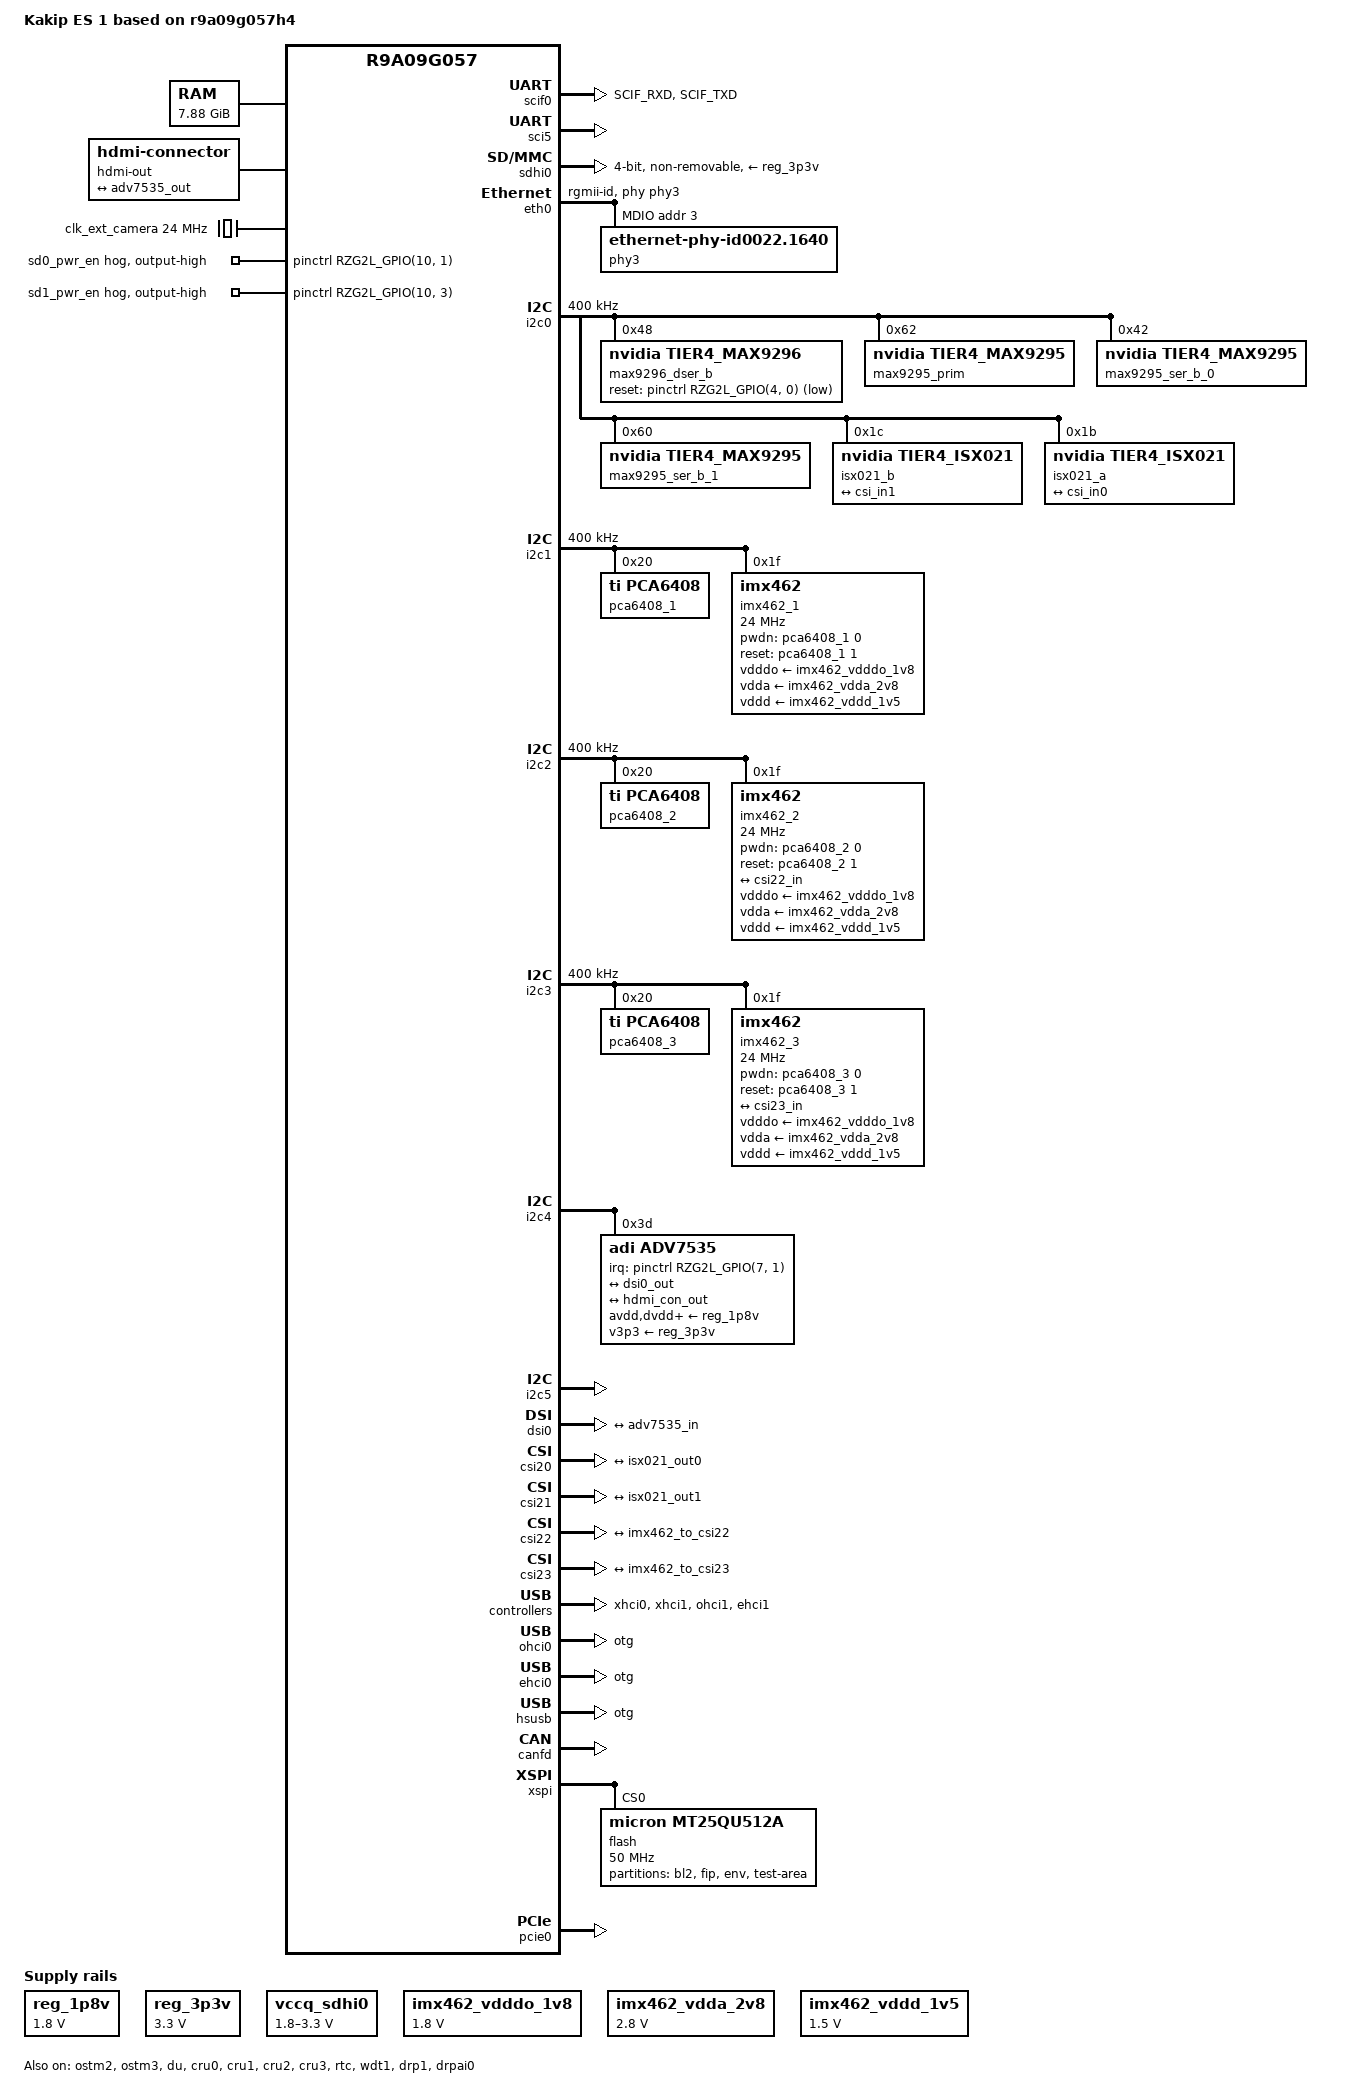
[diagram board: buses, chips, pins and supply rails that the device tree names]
// SPDX-License-Identifier: (GPL-2.0-only OR BSD-2-Clause)
/*
 * Device Tree Source for the Kakip ES 1 board
 *
 * Copyright (C) 2024 AMATAMA Co.
 */

/dts-v1/;
#include "r9a09g057.dtsi"
#include <dt-bindings/pinctrl/rzg2l-pinctrl.h>
#include <dt-bindings/gpio/gpio.h>

/ {
	model = "Kakip ES 1 based on r9a09g057h4";
	compatible = "renesas,r9a09g057h4-evk-ver1", "renesas,r9a09g057h4", "renesas,r9a09g057";

	aliases {
		serial0 = &scif0;
		serial2 = &sci5;
		mmc0 = &sdhi0;
		ethernet0 = &eth0;
		ethernet1 = &eth1;
	};

	chosen {
		bootargs = "ignore_loglevel";
		stdout-path = "serial0:115200n8";
	};

	ddr0: memory@48000000 {
		device_type = "memory";
		/* first 128MB is reserved for secure area. */
		reg = <0x0 0x48000000 0x1 0xF8000000>;
	};

	pwm0_gpio: pwm0-gpio {
		compatible = "pwm-gpio";
		gpios = <&pinctrl RZG2L_GPIO(10, 4) GPIO_ACTIVE_HIGH>;
		#pwm-cells = <3>;
		status = "disabled";
	};

	pwm1_gpio: pwm1-gpio {
		compatible = "pwm-gpio";
		gpios = <&pinctrl RZG2L_GPIO(10, 5) GPIO_ACTIVE_HIGH>;
		#pwm-cells = <3>;
		status = "disabled";
	};

	reserved-memory {
		#address-cells = <2>;
		#size-cells = <2>;
		ranges;

		global_cma: linux,cma@58000000 {
			compatible = "shared-dma-pool";
			linux,cma-default;
			reusable;
			reg = <0x0 0x58000000 0x0 0x10000000>;
		};

		mmp_reserved: linux,multimedia {
			compatible = "shared-dma-pool";
			reusable;
			reg = <0x00000000 0x68000000 0x0 0x20000000>;
		};

		isp: ISP@90000000 {
			compatible = "shared-dma-pool";
			reusable;
			reg = <0x0 0x90000000 0x0 0x18000000>;
		};

		image_buf0: image_buf@B0000000 {
			compatible = "shared-dma-pool";
			reusable;
			reg = <0x0 0xB0000000 0x0 0x4000000>;
			label = "image_buf0";
		};

		opencva_reserved: OpenCVA@C0000000 {
			reusable;
			reg = <0x0 0xC0000000 0x0 0x7D00000>;
		};

		drp_codec: DRP-Codec@C7D00000 {
			reusable;
			reg = <0x0 0xC7D00000 0x0 0x300000>;
		};

		drp_reserved: DRP-AI@D0000000 {
			reusable;
			reg = <0x0 0xD0000000 0x0 0x20000000>;
		};
	};

	mmngr {
		compatible = "renesas,mmngr";
		memory-region = <&mmp_reserved>;
	};

	mmngrbuf {
		compatible = "renesas,mmngrbuf";
	};

	vspm_if {
		compatible = "renesas,vspm_if";
	};

	reg_1p8v: regulator0 {
		compatible = "regulator-fixed";

		regulator-name = "fixed-1.8V";
		regulator-min-microvolt = <1800000>;
		regulator-max-microvolt = <1800000>;
		regulator-boot-on;
		regulator-always-on;
	};

	reg_3p3v: regulator1 {
		compatible = "regulator-fixed";

		regulator-name = "fixed-3.3V";
		regulator-min-microvolt = <3300000>;
		regulator-max-microvolt = <3300000>;
		regulator-boot-on;
		regulator-always-on;
	};

	vccq_sdhi0: regulator-vccq-sdhi0 {
		compatible = "regulator-gpio";

		regulator-name = "SDHI0 VccQ";
		regulator-min-microvolt = <1800000>;
		regulator-max-microvolt = <3300000>;

		gpios = <&pinctrl RZG2L_GPIO(10, 0) GPIO_ACTIVE_HIGH>;

		gpios-states = <0>;
		states = <3300000 0 1800000 1>;
	};

	hdmi-out {
		compatible = "hdmi-connector";
		type = "d";

		port {
			hdmi_con_out: endpoint {
				remote-endpoint = <&adv7535_out>;
			};
		};
	};

	clk_ext_camera: clk_ext_camera {
		compatible = "fixed-clock";
		#clock-cells = <0>;
		clock-frequency = <24000000>;
	};

	imx462_vdddo_1v8: 1p8v {
		compatible = "regulator-fixed";
		regulator-name = "camera_vdddo";
		regulator-min-microvolt = <1800000>;
		regulator-max-microvolt = <1800000>;
		regulator-always-on;
	};

	imx462_vdda_2v8: 2p8v {
		compatible = "regulator-fixed";
		regulator-name = "camera_vdda";
		regulator-min-microvolt = <2800000>;
		regulator-max-microvolt = <2800000>;
		regulator-always-on;
	};

	imx462_vddd_1v5: 1p5v {
		compatible = "regulator-fixed";
		regulator-name = "camera_vddd";
		regulator-min-microvolt = <1500000>;
		regulator-max-microvolt = <1500000>;
		regulator-always-on;
	};

	x1_clk: x1-clock {
		compatible = "fixed-clock";
		#clock-cells = <0>;
		clock-frequency = <24000000>;
	};

    udmabuf@0 {
        compatible = "ikwzm,u-dma-buf";
        device-name = "udmabuf0";
        minor-number = <0>;
        size = <0x4000000>; // 64MiB
        dma-coherent;
        memory-region = <&image_buf0>;
    };
};

&pinctrl {
	gpio-line-names = \
	"", "", "", "","", "", "", "", \
	"", "", "", "","", "", "", "", \
	"", "", "", "","", "", "", "", \
	"", "", "", "","", "", "", "", \
	"", "", "", "","", "", "", "", \
	"", "", "", "","", "", "", "", \
	"", "", "", "","", "", "", "", \
	"", "GPIO4", "GPIO14", "GPIO15","GPIO5", "", "GPIO2", "GPIO3", \
	"", "", "GPIO16", "GPIO17","GPIO0", "GPIO1", "", "", \
	"GPIO10", "GPIO9", "GPIO11", "GPIO8","GPIO7", "GPIO18", "GPIO19", "GPIO21", \
	"", "", "", "","GPIO12", "GPIO13", "GPIO20", "GPIO6", \
	"GPIO22", "GPIO24", "GPIO25", "GPIO26","GPIO27", "GPIO23", "", "";

	can0_pins: can0 {
		pinmux = <RZG2L_PORT_PINMUX(8, 0, 5)>, /* TX */
			 <RZG2L_PORT_PINMUX(8, 1, 5)>; /* RX */
	};

	can3_pins: can3 {
		pinmux = <RZG2L_PORT_PINMUX(8, 6, 5)>, /* TX */
			 <RZG2L_PORT_PINMUX(8, 7, 5)>; /* RX */
	};

	scif0_pins: scif0 {
		pins =  "SCIF_RXD", "SCIF_TXD";
	};

	sci5_pins: sci5 {
		pinmux = <RZG2L_PORT_PINMUX(7, 2, 1)>, /* SCI5_TXD_MOSI_SDA */
			 <RZG2L_PORT_PINMUX(7, 3, 1)>; /* SCI5_RXD_MISO_SCL */
	};

	sd0_pwr_en {
		gpio-hog;
		gpios = <RZG2L_GPIO(10, 1) GPIO_ACTIVE_HIGH>;
		output-high;
		line-name = "sd0_pwr_en";
	};

	sd1_pwr_en {
		gpio-hog;
		gpios = <RZG2L_GPIO(10, 3) GPIO_ACTIVE_HIGH>;
		output-high;
		line-name = "sd1_pwr_en";
	};

	i2c0_pins: i2c0 {
		pinmux = <RZG2L_PORT_PINMUX(3, 0, 1)>, /* I2C0_SDA */
			 <RZG2L_PORT_PINMUX(3, 1, 1)>; /* I2C0_SCL */
	};

	i2c1_pins: i2c1 {
		pinmux = <RZG2L_PORT_PINMUX(3, 2, 1)>, /* I2C1_SDA */
			 <RZG2L_PORT_PINMUX(3, 3, 1)>; /* I2C1_SCL */
	};

	i2c2_pins: i2c2 {
		pinmux = <RZG2L_PORT_PINMUX(3, 4, 1)>, /* I2C2_SDA */
			 <RZG2L_PORT_PINMUX(3, 5, 1)>; /* I2C2_SCL */
	};

	i2c3_pins: i2c3 {
		pinmux = <RZG2L_PORT_PINMUX(3, 6, 1)>, /* I2C3_SDA */
			 <RZG2L_PORT_PINMUX(3, 7, 1)>; /* I2C3_SCL */
	};

	i2c4_pins: i2c4 {
		pinmux = <RZG2L_PORT_PINMUX(6, 0, 4)>, /* I2C4_SDA */
			 <RZG2L_PORT_PINMUX(6, 1, 4)>; /* I2C4_SCL */
	};

	i2c5_pins: i2c5 {
		pinmux = <RZG2L_PORT_PINMUX(6, 2, 4)>, /* I2C5_SDA */
			 <RZG2L_PORT_PINMUX(6, 3, 4)>; /* I2C5_SCL */
	};

	i2c6_pins: i2c6 {
	};

	i2c7_pins: i2c7 {
	};

	i2c8_pins: i2c8 {
	};

	usb30_pins: usb30 {
		pinmux = <RZG2L_PORT_PINMUX(6, 4, 15)>; /* VBUS */
	};

	usb31_pins: usb31 {
		pinmux = <RZG2L_PORT_PINMUX(6, 6, 15)>; /* VBUS */
	};

	usb20_pins: usb20 {
	};

	usb21_pins: usb21 {
	};
};

&extal_clk {
	clock-frequency = <24000000>;
};

&ostm2 {
	status = "okay";
};

&ostm3 {
	status = "okay";
};

&scif0 {
	pinctrl-0 = <&scif0_pins>;
	pinctrl-names = "default";

	status = "okay";
};

&sci5 {
	pinctrl-0 = <&sci5_pins>;
	pinctrl-names = "default";
	status = "okay";
};

&sdhi0 {
	vmmc-supply = <&reg_3p3v>;
	vqmmc-supply = <&vccq_sdhi0>;
	non-removable;
	bus-width = <4>;
	sd-uhs-sdr50;
	status = "okay";
};

&eth0 {
	phy-handle = <&phy3>;
	phy-mode = "rgmii-id";
	status = "okay";

	mdio {
		#address-cells = <1>;
		#size-cells = <0>;
		phy3: ethernet-phy@3 {
			compatible = "ethernet-phy-id0022.1640",
				     "ethernet-phy-ieee802.3-c22";
			reg = <3>;
			rxc-skew-psec = <1400>;
			txc-skew-psec = <1400>;
			rxdv-skew-psec = <0>;
			txdv-skew-psec = <0>;
			rxd0-skew-psec = <0>;
			rxd1-skew-psec = <0>;
			rxd2-skew-psec = <0>;
			rxd3-skew-psec = <0>;
			txd0-skew-psec = <0>;
			txd1-skew-psec = <0>;
			txd2-skew-psec = <0>;
			txd3-skew-psec = <0>;
		};
	};
};

&eth1 {
	phy-handle = <&phy1>;
	phy-mode = "rgmii-id";
	status = "disabled";

	mdio {
		#address-cells = <1>;
		#size-cells = <0>;
		phy1: ethernet-phy@0 {
			compatible = "ethernet-phy-id0022.1640",
				     "ethernet-phy-ieee802.3-c22";
			reg = <0>;
			rxc-skew-psec = <1400>;
			txc-skew-psec = <1400>;
			rxdv-skew-psec = <0>;
			txdv-skew-psec = <0>;
			rxd0-skew-psec = <0>;
			rxd1-skew-psec = <0>;
			rxd2-skew-psec = <0>;
			rxd3-skew-psec = <0>;
			txd0-skew-psec = <0>;
			txd1-skew-psec = <0>;
			txd2-skew-psec = <0>;
			txd3-skew-psec = <0>;
		};
	};
};

&i2c0 {
	pinctrl-0 = <&i2c0_pins>;
	pinctrl-names = "default";

	status = "okay";
	clock-frequency = <400000>;
//	pca6408_0: pca6408_0@20
//		{
//			compatible = "ti,pca6408";
//			gpio-controller;
//			#gpio-cells = <2>;
//			reg = <0x20>;
//			status = "okay";
//		};
//	imx462_0: camera0@1f {
//		compatible = "imx462";
//		reg = <0x1f>;
//		clock-names = "xclk";
//		clocks = <&clk_ext_camera>;
//		clock-frequency = <24000000>;
//		camera-mipi-clk = <800>; //Not used , but for future purpose
//		camera-mipi-lanes = <4>; //Not used , but for future purpose
//		vdddo-supply = <&imx462_vdddo_1v8>;
//		vdda-supply = <&imx462_vdda_2v8>;
//		vddd-supply = <&imx462_vddd_1v5>;
//		/* Set dummy enable gpio */
//		pwdn-gpios = <&pca6408_0 0 GPIO_ACTIVE_HIGH>;
//		reset-gpios = <&pca6408_0 1 GPIO_ACTIVE_HIGH>;
//
//		port {
//			imx462_to_csi20: endpoint {
//				clock-lanes = <0>;
//				data-lanes = <1 2 3 4>;
//				// remote-endpoint = <&csi20_in>;
//			};
//		};
//	};

	max9296_dser_b: max9296@48 {
		compatible = "nvidia,tier4_max9296";
		reg = <0x48>;
		status = "okay";
		csi-mode = "2x4";
		max-src = <2>;
		reset-gpios = <&pinctrl RZG2L_GPIO(4, 0) GPIO_ACTIVE_LOW>;
		// reset-gpios = <&pinctrl RZG2L_GPIO(4, 1) GPIO_ACTIVE_LOW>;
		// reset-gpios = <&tegra_main_gpio 0x3B 0x0>;
	};

	max9295_prim@62 {
		compatible = "nvidia,tier4_max9295";
		status = "okay";
		reg = <0x62>;
		is-prim-ser;
	};
	max9295_ser_b_0: max9295_a@42 {
		compatible = "nvidia,tier4_max9295";
		status = "okay";
		reg = <0x42>;
		nvidia,gmsl-dser-device = <&max9296_dser_b>;
	};

	max9295_ser_b_1: max9295_b@60 {
		compatible = "nvidia,tier4_max9295";
		status = "okay";
		reg = <0x60>;
		nvidia,gmsl-dser-device = <&max9296_dser_b>;
	};

	isx021_b@1c {
		//cvb
		status = "okay";
		def-addr = <0x1a>;
		// mclk = "extperiph1";
		mclk = "xclk";
		// mclk = "sysclk";
		// mclk = "clk_ext_camera";
		clocks = <&clk_ext_camera>, <&clk_ext_camera>;
		// clock-names = "extperiph1", "pllp_grtba";
		clock-names = "xclk", "pllp_grtba";
		// clock-names = "sysclk", "pllp_grtba";
		// clock-names = "clk_ext_camera", "pllp_grtba";
		nvidia,gmsl-ser-device = <&max9295_ser_b_1>;
		nvidia,gmsl-dser-device = <&max9296_dser_b>;

		// common modul;e
		compatible = "nvidia,tier4_isx021";
		reg = <0x1c>;

		/* Physical dimensions of sensor */
		physical_w = "15.0";
		physical_h = "12.5";
		reg_mux = <0>;

		sensor_model ="isx021";

		fsync-mode = "false";

		distortion-correction = "false";

		auto-exposure = "true";

		/* Defines number of frames to be dropped by driver internally after applying */
		/* sensor crop settings. Some sensors send corrupt frames after applying */
		/* crop co-ordinates */
		post_crop_frame_drop = "0";

		/* Convert Gain to unit of dB (decibel) befor passing to kernel driver */
		use_decibel_gain = "true";

		/* enable CID_SENSOR_MODE_ID for sensor modes selection */
		// use_sensor_mode_id = "true";
		use_sensor_mode_id = "false";

		mode0 {
			/*mode ISX021_MODE_1920X1280_CROP_30FPS*/
			mclk_khz = "24000";
			num_lanes = "4";
			tegra_sinterface = "serial_a";
			vc_id = "1";
			discontinuous_clk = "no";
			dpcm_enable = "false";
			cil_settletime = "0";
			dynamic_pixel_bit_depth = "16";
			csi_pixel_bit_depth = "16";
			mode_type = "yuv";
			pixel_phase = "uyvy";

			active_w = "1920";
			active_h = "1280";
			readout_orientation = "0";
			line_length = "2250";
			inherent_gain = "1";

			pix_clk_hz = "74250000";
			serdes_pix_clk_hz = "350000000";    // MIPI CSI clock 1400Mhz

			gain_factor = "10";
			min_gain_val = "0";                   /* dB */
			max_gain_val = "300";                 /* dB */
			step_gain_val = "3";                  /* 0.3 */
			default_gain = "0";
			min_hdr_ratio = "1";
			max_hdr_ratio = "1";
			framerate_factor = "1000000";
			min_framerate = "30000000";
			max_framerate = "30000000";
			step_framerate = "1";
			default_framerate = "30000000";
			exposure_factor = "1000000";
			min_exp_time = "24";                  /* us 1 line */
			max_exp_time = "33333";
			step_exp_time = "1";
			default_exp_time = "33333";           /* us */
			embedded_metadata_height = "0";
		};
		mode1 {
			/*mode ISX021_MODE_1920X1281_CROP_30FPS for Front Embbeded data*/ 
			mclk_khz = "24000";
			num_lanes = "4";
			tegra_sinterface = "serial_a";
			vc_id = "1";
			discontinuous_clk = "no";
			dpcm_enable = "false";
			cil_settletime = "0";
			dynamic_pixel_bit_depth = "16";
			csi_pixel_bit_depth = "16";
			mode_type = "yuv";
			pixel_phase = "uyvy";

			active_w = "1920";
			active_h = "1281";
			readout_orientation = "0";
			line_length = "2250";
			inherent_gain = "1";

			pix_clk_hz = "74250000";
			serdes_pix_clk_hz = "350000000";    // MIPI CSI clock 1400Mhz

			gain_factor = "10";
			min_gain_val = "0";                   /* dB */
			max_gain_val = "300";                 /* dB */
			step_gain_val = "3";                  /* 0.3 */
			default_gain = "0";
			min_hdr_ratio = "1";
			max_hdr_ratio = "1";
			framerate_factor = "1000000";
			min_framerate = "30000000";
			max_framerate = "30000000";
			step_framerate = "1";
			default_framerate = "30000000";
			exposure_factor = "1000000";
			min_exp_time = "24";                  /* us 1 line */
			max_exp_time = "33333";
			step_exp_time = "1";
			default_exp_time = "33333";           /* us */
			embedded_metadata_height = "0";
		};
		mode2 {
			/*mode ISX021_MODE_1920X1294_CROP_30FPS  for Rear Embedded data */
			mclk_khz = "24000";
			num_lanes = "4";
			tegra_sinterface = "serial_a";
			vc_id = "1";
			discontinuous_clk = "no";
			dpcm_enable = "false";
			cil_settletime = "0";
			dynamic_pixel_bit_depth = "16";
			csi_pixel_bit_depth = "16";
			mode_type = "yuv";
			pixel_phase = "uyvy";

			active_w = "1920";
			active_h = "1294";
			readout_orientation = "0";
			line_length = "2250";
			inherent_gain = "1";

			pix_clk_hz = "74250000";
			serdes_pix_clk_hz = "350000000";    // MIPI CSI clock 1400Mhz

			gain_factor = "10";
			min_gain_val = "0";                   /* dB */
			max_gain_val = "300";                 /* dB */
			step_gain_val = "3";                  /* 0.3 */
			default_gain = "0";
			min_hdr_ratio = "1";
			max_hdr_ratio = "1";
			framerate_factor = "1000000";
			min_framerate = "30000000";
			max_framerate = "30000000";
			step_framerate = "1";
			default_framerate = "30000000";
			exposure_factor = "1000000";
			min_exp_time = "24";                  /* us 1 line */
			max_exp_time = "33333";
			step_exp_time = "1";
			default_exp_time = "33333";           /* us */
			embedded_metadata_height = "0";
		};
		mode3 {
			/*mode ISX021_MODE_1920X1295_CROP_30FPS for both Front and Rear Embedded data */
			mclk_khz = "24000";
			num_lanes = "4";
			tegra_sinterface = "serial_a";
			vc_id = "1";
			discontinuous_clk = "no";
			dpcm_enable = "false";
			cil_settletime = "0";
			dynamic_pixel_bit_depth = "16";
			csi_pixel_bit_depth = "16";
			mode_type = "yuv";
			pixel_phase = "uyvy";

			active_w = "1920";
			active_h = "1295";
			readout_orientation = "0";
			line_length = "2250";
			inherent_gain = "1";

			pix_clk_hz = "74250000";
			serdes_pix_clk_hz = "350000000";    // MIPI CSI clock 1400Mhz

			gain_factor = "10";
			min_gain_val = "0";                   /* dB */
			max_gain_val = "300";                 /* dB */
			step_gain_val = "3";                  /* 0.3 */
			default_gain = "0";
			min_hdr_ratio = "1";
			max_hdr_ratio = "1";
			framerate_factor = "1000000";
			min_framerate = "30000000";
			max_framerate = "30000000";
			step_framerate = "1";
			default_framerate = "30000000";
			exposure_factor = "1000000";
			min_exp_time = "24";                  /* us 1 line */
			max_exp_time = "33333";
			step_exp_time = "1";
			default_exp_time = "33333";           /* us */
			embedded_metadata_height = "0";
		};


		ports {
			#address-cells = <1>;
			#size-cells = <0>;
			port@0 {
				reg = <0>;
				isx021_out1: endpoint {
					vc-id = <1>;
					port-index = <0>;
					bus-width = <4>;
					clock-lanes = <0>;
					data-lanes = <1 2 3 4>;
					remote-endpoint = <&csi_in1>;
				};
			};
		};

		gmsl-link {
			src-csi-port = "b";           /* Port at which sensor is connected to its serializer device. */
			dst-csi-port = "a";           /* Destination CSI port on the Jetson side, connected at deserializer. */
			serdes-csi-link = "b";        /* GMSL link sensor/serializer connected */
			csi-mode = "1x4";             /*  to sensor CSI mode. */
			st-vc = <0>;                    /* Sensor source default VC ID: 0 unless overridden by sensor. */
			vc-id = <1>;                    /* Destination VC ID, assigned to sensor stream by deserializer. */
			num-lanes = <4>;                /* Number of CSI lanes used. */
			streams = "ued-u1", "yuv8"; /* Types of streams sensor is streaming. */
		};
	};

	isx021_a@1b {
		//cvb
		status = "okay";
		def-addr = <0x1a>;
		// mclk = "extperiph1";
		mclk = "xclk";
		// mclk = "sysclk";
		// mclk = "clk_ext_camera";
		clocks = <&clk_ext_camera>, <&clk_ext_camera>;
		// clock-names = "extperiph1", "pllp_grtba";
		clock-names = "xclk", "pllp_grtba";
		// clock-names = "sysclk", "pllp_grtba";
		// clock-names = "clk_ext_camera", "pllp_grtba";
		nvidia,gmsl-ser-device = <&max9295_ser_b_0>;
		nvidia,gmsl-dser-device = <&max9296_dser_b>;

		// common modul;e
		compatible = "nvidia,tier4_isx021";
		reg = <0x1b>;

		/* Physical dimensions of sensor */
		physical_w = "15.0";
		physical_h = "12.5";
		reg_mux = <0>;

		sensor_model ="isx021";

		fsync-mode = "false";

		distortion-correction = "false";

		auto-exposure = "true";

		/* Defines number of frames to be dropped by driver internally after applying */
		/* sensor crop settings. Some sensors send corrupt frames after applying */
		/* crop co-ordinates */
		post_crop_frame_drop = "0";

		/* Convert Gain to unit of dB (decibel) befor passing to kernel driver */
		use_decibel_gain = "true";

		/* enable CID_SENSOR_MODE_ID for sensor modes selection */
		// use_sensor_mode_id = "true";
		use_sensor_mode_id = "false";

		mode0 {
			/*mode ISX021_MODE_1920X1280_CROP_30FPS*/
			mclk_khz = "24000";
			num_lanes = "4";
			tegra_sinterface = "serial_a";
			vc_id = "0";
			discontinuous_clk = "no";
			dpcm_enable = "false";
			cil_settletime = "0";
			// dynamic_pixel_bit_depth = "32";
			// csi_pixel_bit_depth = "32";
			dynamic_pixel_bit_depth = "16";
			csi_pixel_bit_depth = "16";
			// dynamic_pixel_bit_depth = "8";
			// csi_pixel_bit_depth = "8";
			mode_type = "yuv";
			pixel_phase = "uyvy";

			active_w = "1920";
			active_h = "1280";
			readout_orientation = "0";
			line_length = "2250";
			inherent_gain = "1";

			pix_clk_hz = "74250000";
			serdes_pix_clk_hz = "350000000";    // MIPI CSI clock 1400Mhz

			gain_factor = "10";
			min_gain_val = "0";                   /* dB */
			max_gain_val = "300";                 /* dB */
			step_gain_val = "3";                  /* 0.3 */
			default_gain = "0";
			min_hdr_ratio = "1";
			max_hdr_ratio = "1";
			framerate_factor = "1000000";
			min_framerate = "30000000";
			max_framerate = "30000000";
			step_framerate = "1";
			default_framerate = "30000000";
			exposure_factor = "1000000";
			min_exp_time = "24";                  /* us 1 line */
			max_exp_time = "33333";
			step_exp_time = "1";
			default_exp_time = "33333";           /* us */
			embedded_metadata_height = "0";
		};
		mode1 {
			/*mode ISX021_MODE_1920X1281_CROP_30FPS for Front Embbeded data*/ 
			mclk_khz = "24000";
			num_lanes = "4";
			tegra_sinterface = "serial_a";
			vc_id = "0";
			discontinuous_clk = "no";
			dpcm_enable = "false";
			cil_settletime = "0";
			dynamic_pixel_bit_depth = "16";
			csi_pixel_bit_depth = "16";
			mode_type = "yuv";
			pixel_phase = "uyvy";

			active_w = "1920";
			active_h = "1281";
			readout_orientation = "0";
			line_length = "2250";
			inherent_gain = "1";

			pix_clk_hz = "74250000";
			serdes_pix_clk_hz = "350000000";    // MIPI CSI clock 1400Mhz

			gain_factor = "10";
			min_gain_val = "0";                   /* dB */
			max_gain_val = "300";                 /* dB */
			step_gain_val = "3";                  /* 0.3 */
			default_gain = "0";
			min_hdr_ratio = "1";
			max_hdr_ratio = "1";
			framerate_factor = "1000000";
			min_framerate = "30000000";
			max_framerate = "30000000";
			step_framerate = "1";
			default_framerate = "30000000";
			exposure_factor = "1000000";
			min_exp_time = "24";                  /* us 1 line */
			max_exp_time = "33333";
			step_exp_time = "1";
			default_exp_time = "33333";           /* us */
			embedded_metadata_height = "0";
		};
		mode2 {
			/*mode ISX021_MODE_1920X1294_CROP_30FPS  for Rear Embedded data */
			mclk_khz = "24000";
			num_lanes = "4";
			tegra_sinterface = "serial_a";
			vc_id = "0";
			discontinuous_clk = "no";
			dpcm_enable = "false";
			cil_settletime = "0";
			dynamic_pixel_bit_depth = "16";
			csi_pixel_bit_depth = "16";
			mode_type = "yuv";
			pixel_phase = "uyvy";

			active_w = "1920";
			active_h = "1294";
			readout_orientation = "0";
			line_length = "2250";
			inherent_gain = "1";

			pix_clk_hz = "74250000";
			serdes_pix_clk_hz = "350000000";    // MIPI CSI clock 1400Mhz

			gain_factor = "10";
			min_gain_val = "0";                   /* dB */
			max_gain_val = "300";                 /* dB */
			step_gain_val = "3";                  /* 0.3 */
			default_gain = "0";
			min_hdr_ratio = "1";
			max_hdr_ratio = "1";
			framerate_factor = "1000000";
			min_framerate = "30000000";
			max_framerate = "30000000";
			step_framerate = "1";
			default_framerate = "30000000";
			exposure_factor = "1000000";
			min_exp_time = "24";                  /* us 1 line */
			max_exp_time = "33333";
			step_exp_time = "1";
			default_exp_time = "33333";           /* us */
			embedded_metadata_height = "0";
		};
		mode3 {
			/*mode ISX021_MODE_1920X1295_CROP_30FPS for both Front and Rear Embedded data */
			mclk_khz = "24000";
			num_lanes = "4";
			tegra_sinterface = "serial_a";
			vc_id = "0";
			discontinuous_clk = "no";
			dpcm_enable = "false";
			cil_settletime = "0";
			dynamic_pixel_bit_depth = "16";
			csi_pixel_bit_depth = "16";
			mode_type = "yuv";
			pixel_phase = "uyvy";

			active_w = "1920";
			active_h = "1295";
			readout_orientation = "0";
			line_length = "2250";
			inherent_gain = "1";

			pix_clk_hz = "74250000";
			serdes_pix_clk_hz = "350000000";    // MIPI CSI clock 1400Mhz

			gain_factor = "10";
			min_gain_val = "0";                   /* dB */
			max_gain_val = "300";                 /* dB */
			step_gain_val = "3";                  /* 0.3 */
			default_gain = "0";
			min_hdr_ratio = "1";
			max_hdr_ratio = "1";
			framerate_factor = "1000000";
			min_framerate = "30000000";
			max_framerate = "30000000";
			step_framerate = "1";
			default_framerate = "30000000";
			exposure_factor = "1000000";
			min_exp_time = "24";                  /* us 1 line */
			max_exp_time = "33333";
			step_exp_time = "1";
			default_exp_time = "33333";           /* us */
			embedded_metadata_height = "0";
		};


		ports {
			#address-cells = <1>;
			#size-cells = <0>;
			port@0 {
				reg = <0>;
				isx021_out0: endpoint {
					vc-id = <0>;
					port-index = <0>;
					bus-width = <4>;
					clock-lanes = <0>;
					data-lanes = <1 2 3 4>;
					remote-endpoint = <&csi_in0>;
				};
			};
		};

		gmsl-link {
			src-csi-port = "b";           /* Port at which sensor is connected to its serializer device. */
			dst-csi-port = "a";           /* Destination CSI port on the Jetson side, connected at deserializer. */
			serdes-csi-link = "a";        /* GMSL link sensor/serializer connected */
			csi-mode = "1x4";             /*  to sensor CSI mode. */
			st-vc = <0>;                    /* Sensor source default VC ID: 0 unless overridden by sensor. */
			vc-id = <0>;                    /* Destination VC ID, assigned to sensor stream by deserializer. */
			num-lanes = <4>;                /* Number of CSI lanes used. */
			streams = "ued-u1", "yuv8"; /* Types of streams sensor is streaming. */
		};
	};
};

&i2c1 {
	pinctrl-0 = <&i2c1_pins>;
	pinctrl-names = "default";

	status = "okay";
	clock-frequency = <400000>;
	pca6408_1: pca6408_1@20
		{
			compatible = "ti,pca6408";
			gpio-controller;
			#gpio-cells = <2>;
			reg = <0x20>;
			status = "okay";
		};
	imx462_1: camera@1f {
		compatible = "imx462";
		reg = <0x1f>;
		clock-names = "xclk";
		clocks = <&clk_ext_camera>;
		clock-frequency = <24000000>;
		camera-mipi-clk = <800>; //Not used , but for future purpose
		camera-mipi-lanes = <4>; //Not used , but for future purpose
		vdddo-supply = <&imx462_vdddo_1v8>;
		vdda-supply = <&imx462_vdda_2v8>;
		vddd-supply = <&imx462_vddd_1v5>;
		/* Set dummy enable gpio */
		pwdn-gpios = <&pca6408_1 0 GPIO_ACTIVE_HIGH>;
		reset-gpios = <&pca6408_1 1 GPIO_ACTIVE_HIGH>;

		port {
			imx462_to_csi21: endpoint {
				clock-lanes = <0>;
				data-lanes = <1 2 3 4>;
				// remote-endpoint = <&csi21_in>;
			};
		};
	};
};

&i2c2 {
	pinctrl-0 = <&i2c2_pins>;
	pinctrl-names = "default";

	status = "okay";
	clock-frequency = <400000>;
	pca6408_2: pca6408_2@20
		{
			compatible = "ti,pca6408";
			gpio-controller;
			#gpio-cells = <2>;
			reg = <0x20>;
			status = "okay";
		};
	imx462_2: camera2@1f {
		compatible = "imx462";
		reg = <0x1f>;
		clock-names = "xclk";
		clocks = <&clk_ext_camera>;
		clock-frequency = <24000000>;
		camera-mipi-clk = <800>; //Not used , but for future purpose
		camera-mipi-lanes = <4>; //Not used , but for future purpose
		vdddo-supply = <&imx462_vdddo_1v8>;
		vdda-supply = <&imx462_vdda_2v8>;
		vddd-supply = <&imx462_vddd_1v5>;
		/* Set dummy enable gpio */
		pwdn-gpios = <&pca6408_2 0 GPIO_ACTIVE_HIGH>;
		reset-gpios = <&pca6408_2 1 GPIO_ACTIVE_HIGH>;

		port {
			imx462_to_csi22: endpoint {
				clock-lanes = <0>;
				data-lanes = <1 2 3 4>;
				remote-endpoint = <&csi22_in>;
			};
		};
	};
};

&i2c3 {
	pinctrl-0 = <&i2c3_pins>;
	pinctrl-names = "default";

	status = "okay";
	clock-frequency = <400000>;
	pca6408_3: pca6408_3@20
		{
			compatible = "ti,pca6408";
			gpio-controller;
			#gpio-cells = <2>;
			reg = <0x20>;
			status = "okay";
		};
 	imx462_3: camera3@1f {
 		compatible = "imx462";
 		reg = <0x1f>;
 		clock-names = "xclk";
 		clocks = <&clk_ext_camera>;
 		clock-frequency = <24000000>;
 		camera-mipi-clk = <800>; //Not used , but for future purpose
 		camera-mipi-lanes = <4>; //Not used , but for future purpose
 		vdddo-supply = <&imx462_vdddo_1v8>;
 		vdda-supply = <&imx462_vdda_2v8>;
 		vddd-supply = <&imx462_vddd_1v5>;
 		/* Set dummy enable gpio */
 		pwdn-gpios = <&pca6408_3 0 GPIO_ACTIVE_HIGH>;
 		reset-gpios = <&pca6408_3 1 GPIO_ACTIVE_HIGH>;
 
 		port {
 			imx462_to_csi23: endpoint {
 				clock-lanes = <0>;
 				data-lanes = <1 2 3 4>;
 				remote-endpoint = <&csi23_in>;
 			};
 		};
 	};
};

&i2c4 {
	pinctrl-0 = <&i2c4_pins>;
	pinctrl-names = "default";

	status = "okay";

	adv7535: hdmi@4d {
		compatible = "adi,adv7535";
		reg = <0x3d>;

		avdd-supply = <&reg_1p8v>;
		dvdd-supply = <&reg_1p8v>;
		pvdd-supply = <&reg_1p8v>;
		a2vdd-supply = <&reg_1p8v>;
		v3p3-supply = <&reg_3p3v>;
		v1p2-supply = <&reg_1p8v>;

		interrupt-parent = <&pinctrl>;
		interrupts = <RZG2L_GPIO(7, 1) IRQ_TYPE_LEVEL_LOW>;

		adi,dsi-lanes = <4>;

		ports {
			#address-cells = <1>;
			#size-cells = <0>;

			port@0 {
				reg = <0>;
				adv7535_in: endpoint@0 {
					remote-endpoint = <&dsi0_out>;
				};
			};

			port@1 {
				reg = <1>;
				adv7535_out: endpoint@1 {
				remote-endpoint = <&hdmi_con_out>;
				};
			};
		};
	};
};

&i2c5 {
	pinctrl-0 = <&i2c5_pins>;
	pinctrl-names = "default";

	status = "okay";
};

&du {
	status = "okay";
};

&dsi0 {
	status = "okay";

	ports {
		port@1 {
			dsi0_out: endpoint {
				remote-endpoint = <&adv7535_in>;
				data-lanes = <1 2 3 4>;
			};
		};
	};
};

&cru0 {
	status = "okay";
};

&csi20 {
	status = "okay";

	ports {
		port {
// 			csi20_in: endpoint {
// 				clock-lanes = <0>;
// 				data-lanes = <1 2 3 4>;
// 				remote-endpoint = <&imx462_to_csi20>;
// 			};

			csi_in0: endpoint {
				status = "okay";
 				clock-lanes = <0>;
 				data-lanes = <1 2 3 4>;
				bus-width = <0x04>;
				remote-endpoint = <&isx021_out0>;
			};
		};
	};
};

&cru1 {
	status = "okay";
};

&csi21 {
	status = "okay";

	ports {
		port {
//			csi21_in: endpoint {
//				clock-lanes = <0>;
//				data-lanes = <1 2 3 4>;
//				remote-endpoint = <&imx462_to_csi21>;
//			};

			csi_in1: endpoint {
				status = "okay";
				clock-lanes = <0>;
				data-lanes = <1 2 3 4>;
				port-index = <0x00>;
				bus-width = <0x04>;
				remote-endpoint = <&isx021_out1>;
			};
		};
	};
};

&cru2 {
	status = "okay";
};

&csi22 {
	status = "okay";

	ports {
		port {
			csi22_in: endpoint {
				clock-lanes = <0>;
				data-lanes = <1 2 3 4>;
				remote-endpoint = <&imx462_to_csi22>;
			};

//			csi_in2: endpoint {
//				status = "okay";
//				clock-lanes = <0>;
//				data-lanes = <1 2 3 4>;
//				bus-width = <0x04>;
//				remote-endpoint = <&isx021_out2>;
//			};
		};
	};
};

&cru3 {
	status = "okay";
};

&csi23 {
	status = "okay";

	ports {
		port {
			csi23_in: endpoint {
				clock-lanes = <0>;
				// data-lanes = <1 2>;
				data-lanes = <1 2 3 4>;
				// remote-endpoint = <&ov5645_to_csi>;
				remote-endpoint = <&imx462_to_csi23>;
			};

//			csi_in3: endpoint {
//				status = "okay";
//				clock-lanes = <0>;
//				data-lanes = <1 2 3 4>;
//				bus-width = <0x04>;
//				remote-endpoint = <&isx021_out3>;
//			};
		};
	};
};

&xhci0 {
		pinctrl-0 = <&usb30_pins>;
		pinctrl-names = "default";

		memory-region = <&global_cma>;
		status = "okay";
};

&xhci1 {
		pinctrl-0 = <&usb31_pins>;
		pinctrl-names = "default";

		memory-region = <&global_cma>;
		status = "okay";
};

&usb20phyrst {
	status = "disable";
};

&usb21phyrst {
	status = "disable";
};

&ohci0 {
		memory-region = <&global_cma>;

		dr_mode = "otg";
		status = "okay";
};

&ohci1 {
		memory-region = <&global_cma>;

		status = "okay";
};

&ehci0 {
		memory-region = <&global_cma>;

		dr_mode = "otg";
		status = "okay";
};

&ehci1 {
		memory-region = <&global_cma>;

		status = "okay";
};

&hsusb {
		dr_mode = "otg";
		status = "okay";
};

&usb2_phy0 {
		pinctrl-0 = <&usb20_pins>;
		pinctrl-names = "default";

		status = "disable";
};

&usb2_phy1 {
		pinctrl-0 = <&usb21_pins>;
		pinctrl-names = "default";

		status = "disable";
};

&canfd {
	pinctrl-0 = <&can0_pins &can3_pins>;
	pinctrl-names = "default";
	status = "okay";

	channel0 {
		status = "okay";
	};

	channel3 {
		status = "okay";
	};
};

&rtc {
	status = "okay";
};

&wdt1 {
	status = "okay";
};

&drp1 {
    memory-region = <&codec0>;
    memory-oca-region = <&opencva0>;

    status = "okay";
};

&xspi {
	status = "okay";

	flash@0 {
		compatible = "micron,mt25qu512a", "jedec,spi-nor";
		reg = <0>;
		m25p,fast-read;
		spi-max-frequency = <50000000>;
		spi-tx-bus-width = <1>;
		spi-rx-bus-width = <1>;

		partitions {
			compatible = "fixed-partitions";
			#address-cells = <1>;
			#size-cells = <1>;

			partition@000000 {
				label = "bl2";
				reg = <0x00000000 0x0001D200>;
				read-only;
			};

			partition@01D200 {
				label = "fip";
				reg = <0x0001D200 0x001C2E00>;
				read-only;
			};

			partition@1E0000 {
				label = "env";
				reg = <0x001E0000 0x00020000>;
				read-only;
			};

			partition@200000 {
				label = "test-area";
				reg = <0x00200000 0x00E00000>;
			};
		};
	};
};

&pcie0 {
	/* Map all possible DDR as inbound ranges */
	dma-ranges = <0x42000000 0 0x40000000 0 0x40000000 0x4 0x00000000>;

	status = "okay";
};

&drpai0 {
    memory-region = <&drp_reserved>;
    image-memory-region = <&image_buf0>;
    status = "okay";
};
